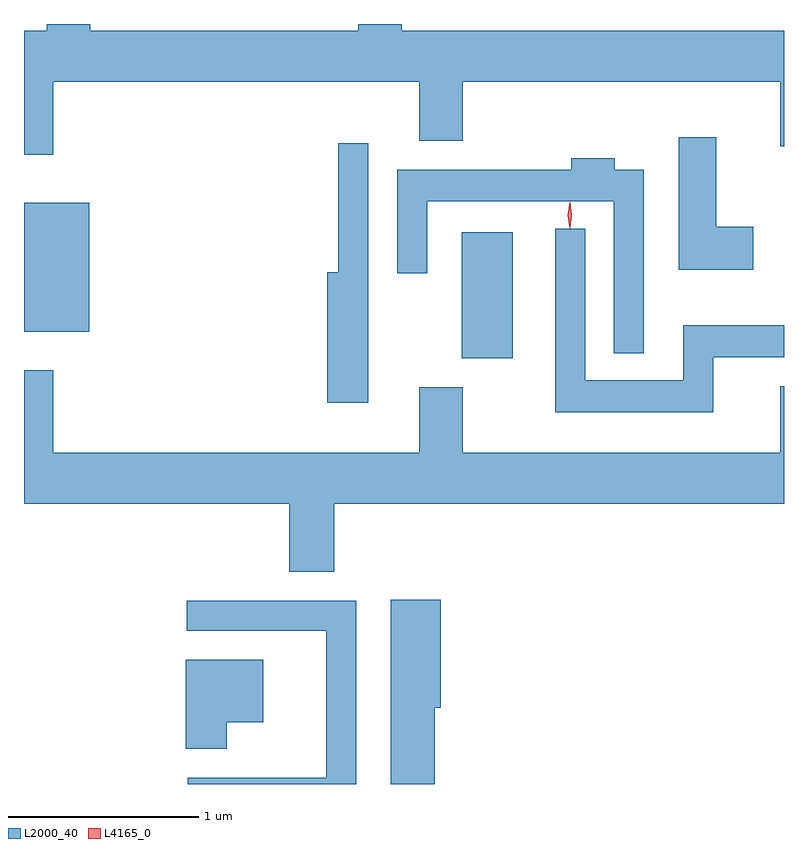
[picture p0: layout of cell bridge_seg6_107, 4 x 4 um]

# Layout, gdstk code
import gdstk
lib = gdstk.Library(unit=1e-6, precision=1e-09)
def R(c, l, rs):  # rectangles x0, y0, x1, y1
    for r in rs: c.add(gdstk.rectangle(r[:2], r[2:], *l))
def P(c, l, *ps):  # polygons
    for p in ps: c.add(gdstk.Polygon(p, *l))
L2000_40 = (2000, 40)
L4165_0 = (4165, 0)

bridge_seg6_107 = lib.new_cell('bridge_seg6_107')
R(bridge_seg6_107, L2000_40, [(1119.176,1666.241,1119.444,1666.904), (1116.871,1666.381,1117.214,1667.059)])
P(bridge_seg6_107, L2000_40, [(1117.024,1667.696),(1118.951,1667.696),(1118.951,1667.386),(1119.179,1667.386),(1119.179,1667.696),(1120.851,1667.696),(1120.851,1667.356),(1120.871,1667.356),(1120.871,1667.964),(1118.859,1667.964),(1118.859,1668),(1118.631,1668),(1118.631,1667.964),(1117.219,1667.964),(1117.219,1668),(1116.991,1668),(1116.991,1667.964),(1116.871,1667.964),(1116.871,1667.313),(1117.024,1667.313)],
  [(1120.709,1666.934),(1120.514,1666.934),(1120.514,1667.404),(1120.316,1667.404),(1120.316,1666.706),(1120.709,1666.706)],
  [(1118.684,1667.373),(1118.526,1667.373),(1118.526,1666.694),(1118.466,1666.694),(1118.466,1666.006),(1118.684,1666.006)],
  [(1120.134,1667.234),(1119.979,1667.234),(1119.979,1667.294),(1119.751,1667.294),(1119.751,1667.234),(1118.836,1667.234),(1118.836,1666.688),(1118.994,1666.688),(1118.994,1667.066),(1119.976,1667.066),(1119.976,1666.268),(1120.134,1666.268)],
  [(1120.499,1666.246),(1120.871,1666.246),(1120.871,1666.414),(1120.341,1666.414),(1120.341,1666.124),(1119.824,1666.124),(1119.824,1666.923),(1119.666,1666.923),(1119.666,1665.956),(1120.499,1665.956)],
  [(1118.504,1665.476),(1120.871,1665.476),(1120.871,1666.094),(1120.851,1666.094),(1120.851,1665.744),(1119.179,1665.744),(1119.179,1666.089),(1118.951,1666.089),(1118.951,1665.744),(1117.024,1665.744),(1117.024,1666.178),(1116.871,1666.178),(1116.871,1665.476),(1118.266,1665.476),(1118.266,1665.116),(1118.504,1665.116)],
  [(1119.034,1664.401),(1119.064,1664.401),(1119.064,1664.969),(1118.801,1664.969),(1118.801,1664),(1119.034,1664)],
  [(1118.619,1664.964),(1117.728,1664.964),(1117.728,1664.806),(1118.461,1664.806),(1118.461,1664.034),(1117.733,1664.034),(1117.733,1664),(1118.619,1664)],
  [(1117.939,1664.326),(1118.129,1664.326),(1118.129,1664.654),(1117.721,1664.654),(1117.721,1664.186),(1117.939,1664.186)])
P(bridge_seg6_107, L4165_0, [(1119.744,1666.924),(1119.744,1666.924),(1119.734,1666.993),(1119.744,1667.062),(1119.744,1667.063),(1119.745,1667.062),(1119.754,1666.993),(1119.745,1666.924)],
  [(1119.744,1666.927),(1119.744,1666.927),(1119.734,1666.994),(1119.743,1667.06),(1119.744,1667.06),(1119.744,1667.06),(1119.754,1666.994),(1119.744,1666.927)])

lib.write_gds('bridge_seg6_107.gds')
